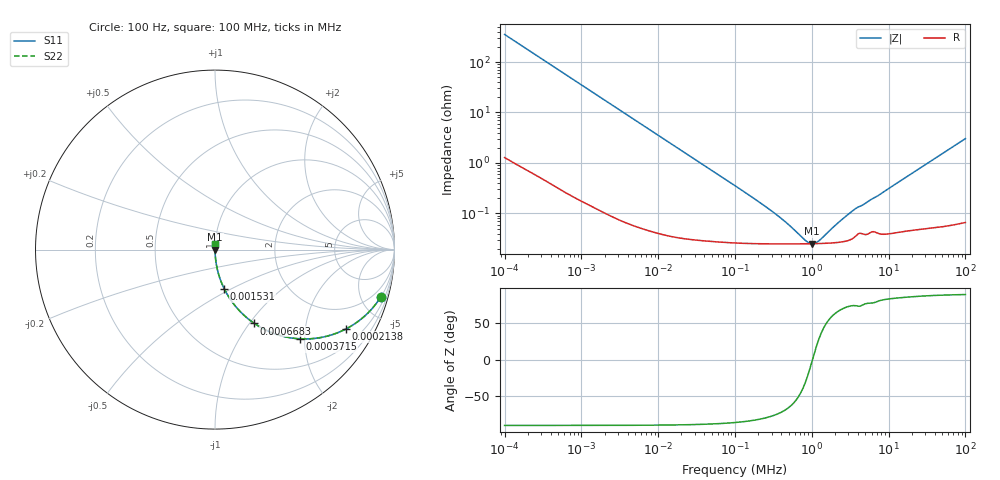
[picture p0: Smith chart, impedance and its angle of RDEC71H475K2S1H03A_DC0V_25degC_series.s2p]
!Murata Part Number: RDEC71H475K2S1H03A
!These Parameters are Measured in Series Mode Connection
!  o--ll--o
!Port1  Port2
!  o------o
!Operation Temp=25[degC], DC Bias Voltage=0[V]
!Freq. Start=100[Hz] Stop=100[MHz], 401[Steps]
!Data Generated on Dec 23, 2019
# Hz S RI R 50
!Freq.(Hz) S11(Real) S11(Imag) S21(Real) S21(Imag) S12(Real) S12(Imag) S22(Real) S22(Imag)
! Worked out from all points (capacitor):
!   401 points, 100 Hz to 100 MHz, reference 50 ohm
!   read as one part in series: C = 4.53 uF near 107.2 Hz
!   lowest |Z| = 25.2 mohm at 1.012 MHz (marker M1)
!   series resonance near 1.021 MHz, so ESL is about 5.4 nH
!   S11 on the Smith chart (normalised r, x): 100 Hz: 1.03, -7.02; 213.8 Hz: 1.01, -3.29; 371.5 Hz: 1.01, -1.90; 668.3 Hz: 1.00, -1.06; 1.531 kHz: 1.00, -0.46; 100 MHz: 1.00, +0.06
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100  0.9241 -0.263  0.0759 0.263  0.0759 0.263  0.9241 -0.263
146.2177  0.8514 -0.3537  0.1486 0.3537  0.1486 0.3537  0.8514 -0.3537
213.7962  0.7294 -0.4423  0.2706 0.4423  0.2706 0.4423  0.7294 -0.4423
281.8383  0.6089 -0.4859  0.3911 0.4859  0.3911 0.4859  0.6089 -0.4859
371.5352  0.4735 -0.4971  0.5265 0.4971  0.5265 0.4971  0.4735 -0.4971
489.7788  0.3419 -0.4721  0.6581 0.4721  0.6581 0.4721  0.3419 -0.4721
668.3439  0.219 -0.4113  0.781 0.4113  0.781 0.4113  0.219 -0.4113
1011.579  0.1098 -0.3102  0.8902 0.3102  0.8902 0.3102  0.1098 -0.3102
1531.087  0.0517 -0.2187  0.9483 0.2187  0.9483 0.2187  0.0517 -0.2187
3507.519  0.0108 -0.0999  0.9892 0.0999  0.9892 0.0999  0.0108 -0.0999
10232.93  0.0016 -0.0347  0.9984 0.0347  0.9984 0.0347  0.0016 -0.0347
100000  0.000273 -0.00354  0.9997 0.00354  0.9997 0.00354  0.000273 -0.00354
312607.9  0.000251 -0.00104  0.9997 0.00104  0.9997 0.00104  0.000251 -0.00104
489778.8  0.00025 -0.000563  0.9998 0.000563  0.9998 0.000563  0.00025 -0.000563
822242.6  0.000251 -0.000153  0.9997 0.000153  0.9997 0.000153  0.000251 -0.000153
1011579  0.000252 -6.53e-06  0.9997 6.53e-06  0.9997 6.53e-06  0.000252 -6.53e-06
1122018  0.000253 6.64e-05  0.9997 -6.64e-05  0.9997 -6.64e-05  0.000253 6.64e-05
1244515  0.000254 0.00014  0.9997 -0.00014  0.9997 -0.00014  0.000254 0.00014
2162719  0.000267 0.000581  0.9997 -0.000581  0.9997 -0.000581  0.000267 0.000581
3630781  0.000344 0.00117  0.9997 -0.00117  0.9997 -0.00117  0.000344 0.00117
1.023293e7  0.000406 0.00316  0.9996 -0.00316  0.9996 -0.00316  0.000406 0.00316
1e8  0.00158 0.0303  0.9984 -0.0303  0.9984 -0.0303  0.00158 0.0303
